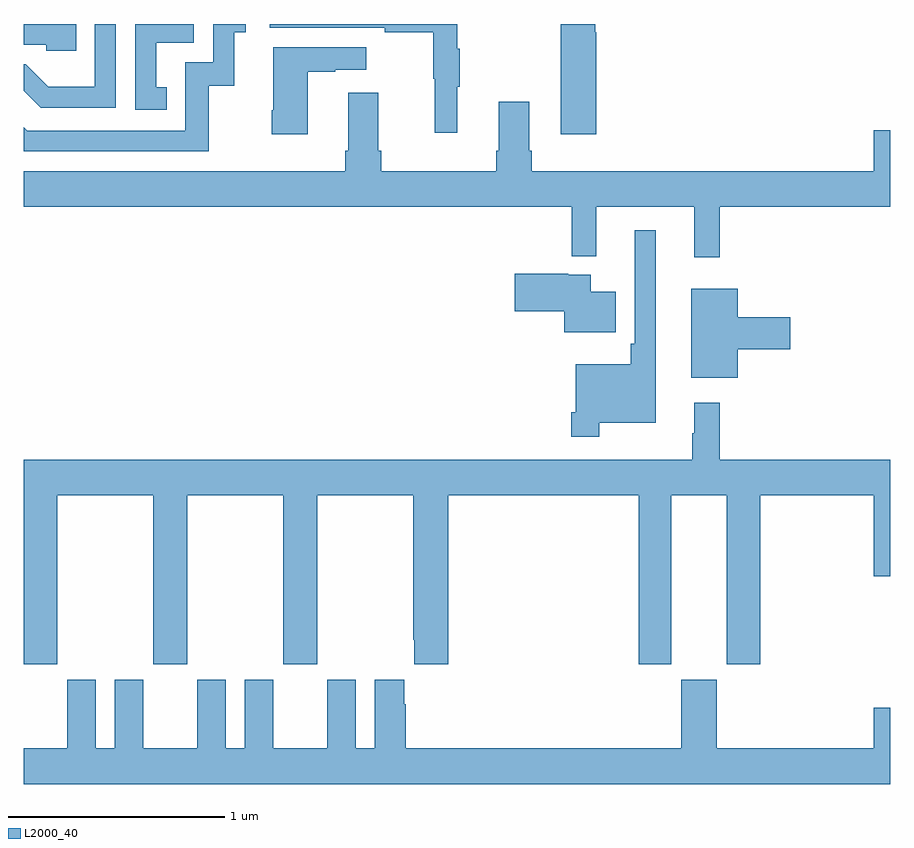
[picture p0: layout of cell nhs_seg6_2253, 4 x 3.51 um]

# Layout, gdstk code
import gdstk
lib = gdstk.Library(unit=1e-6, precision=1e-09)
def P(c, l, *ps):  # polygons
    for p in ps: c.add(gdstk.Polygon(p, *l))
L2000_40 = (2000, 40)

nhs_seg6_2253 = lib.new_cell('nhs_seg6_2253')
P(nhs_seg6_2253, L2000_40, [(245.66,961.209),(245.611,961.209),(245.611,961.413),(245.784,961.413),(245.784,961.5),(245.514,961.5),(245.514,961.104),(245.66,961.104)],
  [(247.001,961.211),(247.012,961.211),(247.012,961.385),(247.001,961.385),(247.001,961.5),(246.135,961.5),(246.135,961.482),(246.667,961.482),(246.667,961.462),(246.891,961.462),(246.891,961.248),(246.898,961.248),(246.898,960.999),(247.001,960.999)],
  [(245.424,961.5),(245.328,961.5),(245.328,961.21),(245.114,961.21),(245.01,961.314),(245,961.314),(245,961.191),(245.078,961.113),(245.424,961.113)],
  [(247.642,961.461),(247.637,961.461),(247.637,961.5),(247.478,961.5),(247.478,960.99),(247.642,960.99)],
  [(245.243,961.5),(245,961.5),(245,961.404),(245.103,961.404),(245.103,961.377),(245.243,961.377)],
  [(245.854,961.215),(245.972,961.215),(245.972,961.461),(246.025,961.461),(246.025,961.5),(245.874,961.5),(245.874,961.323),(245.745,961.323),(245.745,961.008),(245.016,961.008),(245,961.024),(245,960.912),(245.854,960.912)],
  [(246.31,961.279),(246.437,961.279),(246.437,961.289),(246.58,961.289),(246.58,961.393),(246.152,961.393),(246.152,961.102),(246.145,961.102),(246.145,960.99),(246.31,960.99)],
  [(248.213,960.656),(249,960.656),(249,961.009),(248.924,961.009),(248.924,960.82),(247.346,960.82),(247.346,960.916),(247.333,960.916),(247.333,961.141),(247.193,961.141),(247.193,960.916),(247.181,960.916),(247.181,960.82),(246.65,960.82),(246.65,960.916),(246.637,960.916),(246.637,961.183),(246.497,961.183),(246.497,960.916),(246.485,960.916),(246.485,960.82),(245,960.82),(245,960.656),(247.529,960.656),(247.529,960.428),(247.643,960.428),(247.643,960.656),(248.096,960.656),(248.096,960.423),(248.213,960.423)],
  [(247.657,959.66),(247.918,959.66),(247.918,960.547),(247.821,960.547),(247.821,960.025),(247.801,960.025),(247.801,959.929),(247.548,959.929),(247.548,959.707),(247.528,959.707),(247.528,959.595),(247.657,959.595)],
  [(247.732,960.265),(247.618,960.265),(247.618,960.343),(247.514,960.343),(247.514,960.348),(247.266,960.348),(247.266,960.173),(247.496,960.173),(247.496,960.077),(247.732,960.077)],
  [(248.296,959.999),(248.539,959.999),(248.539,960.146),(248.296,960.146),(248.296,960.277),(248.081,960.277),(248.081,959.867),(248.296,959.867)],
  [(245.154,959.324),(245.599,959.324),(245.599,958.545),(245.754,958.545),(245.754,959.324),(246.199,959.324),(246.199,958.545),(246.354,958.545),(246.354,959.324),(246.799,959.324),(246.799,958.657),(246.803,958.657),(246.803,958.545),(246.959,958.545),(246.959,959.324),(247.838,959.324),(247.838,958.545),(247.99,958.545),(247.99,959.324),(248.246,959.324),(248.246,958.545),(248.399,958.545),(248.399,959.324),(248.924,959.324),(248.924,958.95),(249,958.95),(249,959.488),(248.213,959.488),(248.213,959.752),(248.096,959.752),(248.096,959.612),(248.085,959.612),(248.085,959.488),(245,959.488),(245,958.545),(245.154,958.545)],
  [(249,958.345),(248.924,958.345),(248.924,958.156),(248.2,958.156),(248.2,958.473),(248.036,958.473),(248.036,958.156),(246.764,958.156),(246.764,958.361),(246.757,958.361),(246.757,958.474),(246.62,958.474),(246.62,958.156),(246.532,958.156),(246.532,958.474),(246.401,958.474),(246.401,958.156),(246.151,958.156),(246.151,958.474),(246.02,958.474),(246.02,958.156),(245.932,958.156),(245.932,958.474),(245.801,958.474),(245.801,958.156),(245.551,958.156),(245.551,958.474),(245.42,958.474),(245.42,958.156),(245.332,958.156),(245.332,958.474),(245.201,958.474),(245.201,958.156),(245,958.156),(245,957.992),(249,957.992)])

lib.write_gds('nhs_seg6_2253.gds')
